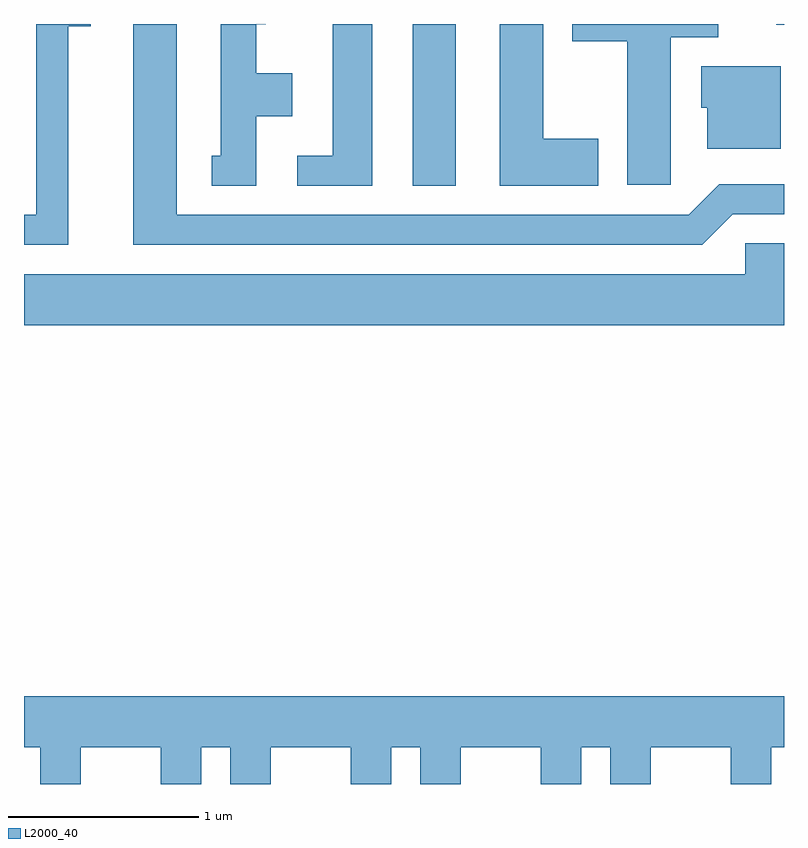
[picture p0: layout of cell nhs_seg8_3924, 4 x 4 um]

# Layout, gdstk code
import gdstk
lib = gdstk.Library(unit=1e-6, precision=1e-09)
def R(c, l, rs):  # rectangles x0, y0, x1, y1
    for r in rs: c.add(gdstk.rectangle(r[:2], r[2:], *l))
def P(c, l, *ps):  # polygons
    for p in ps: c.add(gdstk.Polygon(p, *l))
L2000_40 = (2000, 40)

nhs_seg8_3924 = lib.new_cell('nhs_seg8_3924')
R(nhs_seg8_3924, L2000_40, [(303.656,1941.491,303.884,1942.342), (305.571,1942.338,305.611,1942.342)])
P(nhs_seg8_3924, L2000_40, [(305.014,1942.271),(305.264,1942.271),(305.264,1942.342),(304.496,1942.342),(304.496,1942.251),(304.786,1942.251),(304.786,1941.496),(305.014,1941.496)],
  [(304.634,1941.739),(304.344,1941.739),(304.344,1942.342),(304.116,1942.342),(304.116,1941.491),(304.634,1941.491)],
  [(301.844,1942.331),(301.963,1942.331),(301.963,1942.342),(301.676,1942.342),(301.676,1941.339),(301.611,1941.339),(301.611,1941.181),(301.844,1941.181)],
  [(302.834,1941.856),(303.024,1941.856),(303.024,1942.084),(302.834,1942.084),(302.834,1942.341),(302.883,1942.341),(302.883,1942.342),(302.646,1942.342),(302.646,1941.649),(302.598,1941.649),(302.598,1941.491),(302.834,1941.491)],
  [(305.342,1941.341),(305.611,1941.341),(305.611,1941.499),(305.269,1941.499),(305.109,1941.339),(302.414,1941.339),(302.414,1942.342),(302.186,1942.342),(302.186,1941.181),(305.182,1941.181)],
  [(303.444,1942.342),(303.236,1942.342),(303.236,1941.649),(303.048,1941.649),(303.048,1941.491),(303.444,1941.491)],
  [(305.594,1942.119),(305.176,1942.119),(305.176,1941.901),(305.206,1941.901),(305.206,1941.686),(305.594,1941.686)],
  [(305.611,1941.189),(305.406,1941.189),(305.406,1941.024),(301.611,1941.024),(301.611,1940.756),(305.611,1940.756)],
  [(301.909,1938.536),(302.331,1938.536),(302.331,1938.342),(302.544,1938.342),(302.544,1938.536),(302.696,1938.536),(302.696,1938.342),(302.909,1938.342),(302.909,1938.536),(303.331,1938.536),(303.331,1938.342),(303.544,1938.342),(303.544,1938.536),(303.696,1938.536),(303.696,1938.342),(303.909,1938.342),(303.909,1938.536),(304.331,1938.536),(304.331,1938.342),(304.544,1938.342),(304.544,1938.536),(304.696,1938.536),(304.696,1938.342),(304.909,1938.342),(304.909,1938.536),(305.331,1938.536),(305.331,1938.342),(305.544,1938.342),(305.544,1938.536),(305.611,1938.536),(305.611,1938.804),(301.611,1938.804),(301.611,1938.536),(301.696,1938.536),(301.696,1938.342),(301.909,1938.342)])

lib.write_gds('nhs_seg8_3924.gds')
